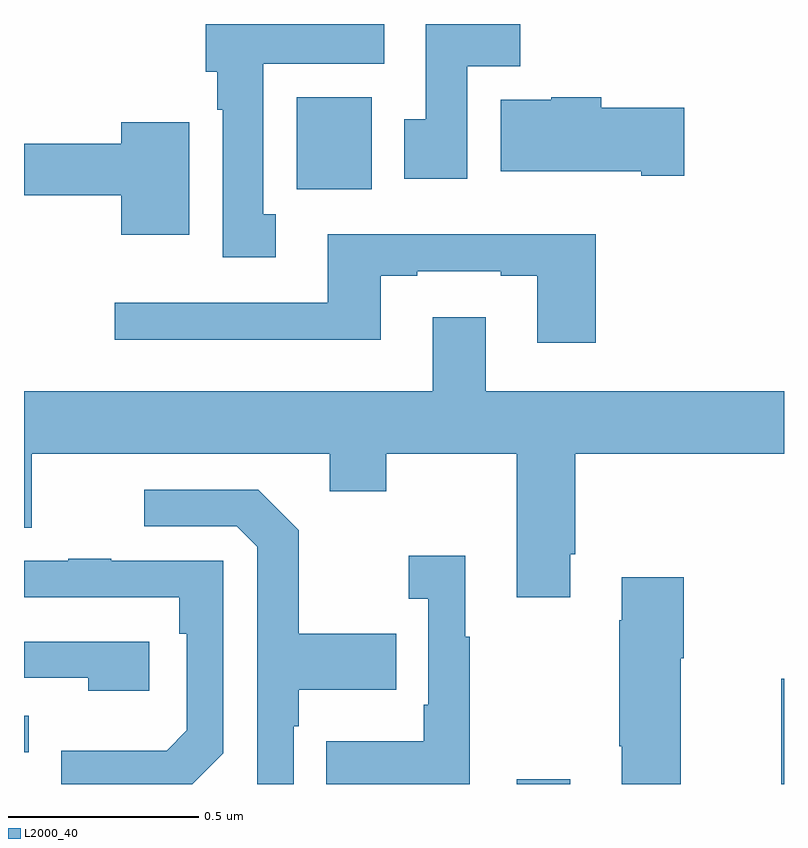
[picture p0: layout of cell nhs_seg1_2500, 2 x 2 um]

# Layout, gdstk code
import gdstk
lib = gdstk.Library(unit=1e-6, precision=1e-09)
def R(c, l, rs):  # rectangles x0, y0, x1, y1
    for r in rs: c.add(gdstk.rectangle(r[:2], r[2:], *l))
def P(c, l, *ps):  # polygons
    for p in ps: c.add(gdstk.Polygon(p, *l))
L2000_40 = (2000, 40)

nhs_seg1_2500 = lib.new_cell('nhs_seg1_2500')
R(nhs_seg1_2500, L2000_40, [(143.297,548.199,143.437,548.212), (143.993,548.199,144,548.476), (142,548.283,142.013,548.379), (142.718,549.764,142.915,550.006)])
P(nhs_seg1_2500, L2000_40, [(142.663,549.698),(142.63,549.698),(142.63,550.094),(142.948,550.094),(142.948,550.199),(142.478,550.199),(142.478,550.074),(142.508,550.074),(142.508,549.974),(142.523,549.974),(142.523,549.585),(142.663,549.585)],
  [(143.167,550.088),(143.306,550.088),(143.306,550.199),(143.057,550.199),(143.057,549.948),(143,549.948),(143,549.792),(143.167,549.792)],
  [(143.737,549.978),(143.519,549.978),(143.519,550.006),(143.388,550.006),(143.388,550),(143.255,550),(143.255,549.812),(143.624,549.812),(143.624,549.8),(143.737,549.8)],
  [(142.435,549.94),(142.256,549.94),(142.256,549.884),(142,549.884),(142,549.748),(142.256,549.748),(142.256,549.644),(142.435,549.644)],
  [(143.504,549.646),(142.799,549.646),(142.799,549.465),(142.239,549.465),(142.239,549.368),(142.939,549.368),(142.939,549.537),(143.035,549.537),(143.035,549.549),(143.255,549.549),(143.255,549.537),(143.351,549.537),(143.351,549.36),(143.504,549.36)],
  [(143.437,548.803),(143.45,548.803),(143.45,549.068),(144,549.068),(144,549.232),(143.215,549.232),(143.215,549.427),(143.075,549.427),(143.075,549.232),(142,549.232),(142,548.874),(142.021,548.874),(142.021,549.068),(142.805,549.068),(142.805,548.969),(142.953,548.969),(142.953,549.068),(143.297,549.068),(143.297,548.691),(143.437,548.691)],
  [(142.71,548.351),(142.723,548.351),(142.723,548.447),(142.979,548.447),(142.979,548.595),(142.723,548.595),(142.723,548.867),(142.617,548.973),(142.317,548.973),(142.317,548.877),(142.56,548.877),(142.614,548.823),(142.614,548.199),(142.71,548.199)],
  [(143.173,548.587),(143.161,548.587),(143.161,548.8),(143.013,548.8),(143.013,548.687),(143.064,548.687),(143.064,548.407),(143.052,548.407),(143.052,548.311),(142.795,548.311),(142.795,548.199),(143.173,548.199)],
  [(142.524,548.28),(142.524,548.787),(142.229,548.787),(142.229,548.792),(142.117,548.792),(142.117,548.787),(142,548.787),(142,548.691),(142.408,548.691),(142.408,548.594),(142.428,548.594),(142.428,548.34),(142.375,548.287),(142.098,548.287),(142.098,548.199),(142.443,548.199)],
  [(143.728,548.53),(143.736,548.53),(143.736,548.743),(143.573,548.743),(143.573,548.63),(143.566,548.63),(143.566,548.299),(143.573,548.299),(143.573,548.199),(143.728,548.199)],
  [(142.33,548.574),(142,548.574),(142,548.478),(142.169,548.478),(142.169,548.444),(142.33,548.444)])

lib.write_gds('nhs_seg1_2500.gds')
